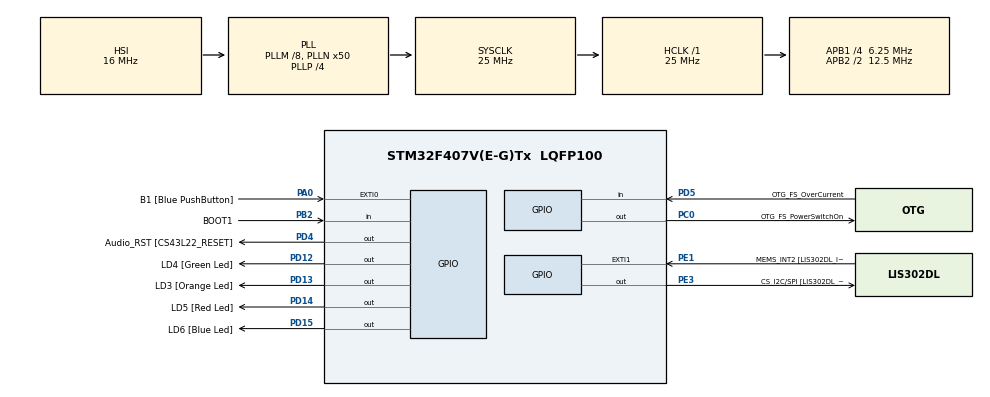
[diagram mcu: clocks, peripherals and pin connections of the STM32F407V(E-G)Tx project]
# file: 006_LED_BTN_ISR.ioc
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Mcu.Family=STM32F4
Mcu.Name=STM32F407V(E-G)Tx
Mcu.Package=LQFP100
NVIC.EXTI0_IRQn=true\:6\:0\:true\:false\:true\:true\:true\:true
NVIC.PriorityGroup=NVIC_PRIORITYGROUP_4
NVIC.TIM6_DAC_IRQn=true\:15\:0\:false\:false\:true\:false\:true\:true
NVIC.TimeBase=TIM6_DAC_IRQn
NVIC.TimeBaseIP=TIM6
PA0-WKUP.GPIO_Label=B1 [Blue PushButton]
PA0-WKUP.GPIO_ModeDefaultEXTI=GPIO_MODE_IT_FALLING
PA0-WKUP.Signal=GPXTI0
PA10.GPIO_Label=OTG_FS_ID
PA10.GPIO_Mode=GPIO_MODE_AF_PP
PA10.GPIO_PuPd=GPIO_NOPULL
PA10.GPIO_Speed=GPIO_SPEED_FREQ_LOW
PA10.Signal=USB_OTG_FS_ID
PA11.GPIO_Label=OTG_FS_DM
PA11.GPIO_Mode=GPIO_MODE_AF_PP
PA11.GPIO_PuPd=GPIO_NOPULL
PA11.GPIO_Speed=GPIO_SPEED_FREQ_LOW
PA11.Signal=USB_OTG_FS_DM
PA12.GPIO_Label=OTG_FS_DP
PA12.GPIO_Mode=GPIO_MODE_AF_PP
PA12.GPIO_PuPd=GPIO_NOPULL
PA12.GPIO_Speed=GPIO_SPEED_FREQ_LOW
PA12.Signal=USB_OTG_FS_DP
PA13.GPIO_Label=SWDIO
PA13.Signal=SYS_JTMS-SWDIO
PA14.GPIO_Label=SWCLK
PA14.Signal=SYS_JTCK-SWCLK
PA4.GPIO_Label=I2S3_WS [CS43L22_LRCK]
PA4.GPIO_Mode=GPIO_MODE_AF_PP
PA4.GPIO_PuPd=GPIO_NOPULL
PA4.GPIO_Speed=GPIO_SPEED_FREQ_LOW
PA4.Signal=I2S3_WS
PA5.GPIO_Label=SPI1_SCK [LIS302DL_SCL/SPC]
PA5.GPIO_Mode=GPIO_MODE_AF_PP
PA5.GPIO_PuPd=GPIO_NOPULL
PA5.GPIO_Speed=GPIO_SPEED_FREQ_LOW
PA5.Signal=SPI1_SCK
PA6.GPIO_Label=SPI1_MISO [LIS302DL_SDO]
PA6.GPIO_Mode=GPIO_MODE_AF_PP
PA6.GPIO_PuPd=GPIO_NOPULL
PA6.GPIO_Speed=GPIO_SPEED_FREQ_LOW
PA6.Signal=SPI1_MISO
PA7.GPIO_Label=SPI1_MOSI [LIS302DL_SDA/SDI/SDO]
PA7.GPIO_Mode=GPIO_MODE_AF_PP
PA7.GPIO_PuPd=GPIO_NOPULL
PA7.GPIO_Speed=GPIO_SPEED_FREQ_LOW
PA7.Signal=SPI1_MOSI
PA9.GPIO_Label=VBUS_FS
PA9.GPIO_Mode=GPIO_MODE_INPUT
PA9.GPIO_PuPd=GPIO_NOPULL
PA9.Signal=USB_OTG_FS_VBUS
PB10.GPIO_Label=CLK_IN [MP45DT02_CLK]
PB10.GPIO_Mode=GPIO_MODE_AF_PP
PB10.GPIO_PuPd=GPIO_NOPULL
PB10.GPIO_Speed=GPIO_SPEED_FREQ_LOW
PB10.Signal=I2S2_CK
PB2.GPIO_Label=BOOT1
PB2.GPIO_Mode=GPIO_MODE_INPUT
PB2.GPIO_PuPd=GPIO_NOPULL
PB2.Signal=GPIO_Input
PB3.GPIO_Label=SWO
PB3.Signal=SYS_JTDO-SWO
PB6.GPIO_Label=Audio_SCL [CS43L22_SCL]
PB6.GPIO_Mode=GPIO_MODE_AF_OD
PB6.GPIO_PuPd=GPIO_NOPULL
PB6.GPIO_Speed=GPIO_SPEED_FREQ_LOW
PB6.Signal=I2C1_SCL
PB9.GPIO_Label=Audio_SDA [CS43L22_SDA]
PB9.GPIO_Mode=GPIO_MODE_AF_OD
PB9.GPIO_PuPd=GPIO_NOPULL
PB9.GPIO_Speed=GPIO_SPEED_FREQ_LOW
PB9.Signal=I2C1_SDA
PC0.GPIO_Label=OTG_FS_PowerSwitchOn
PC0.GPIO_PuPd=GPIO_NOPULL
PC0.GPIO_Speed=GPIO_SPEED_FREQ_LOW
PC0.PinState=GPIO_PIN_SET
PC0.Signal=GPIO_Output
PC10.GPIO_Label=I2S3_SCK [CS43L22_SCLK]
PC10.GPIO_Mode=GPIO_MODE_AF_PP
PC10.GPIO_PuPd=GPIO_NOPULL
PC10.GPIO_Speed=GPIO_SPEED_FREQ_LOW
PC10.Signal=I2S3_CK
PC12.GPIO_Label=I2S3_SD [CS43L22_SDIN]
PC12.GPIO_Mode=GPIO_MODE_AF_PP
PC12.GPIO_PuPd=GPIO_NOPULL
PC12.GPIO_Speed=GPIO_SPEED_FREQ_LOW
PC12.Signal=I2S3_SD
PC14-OSC32_IN.GPIO_Label=PC14-OSC32_IN
PC14-OSC32_IN.Signal=RCC_OSC32_IN
PC15-OSC32_OUT.GPIO_Label=PC15-OSC32_OUT
PC15-OSC32_OUT.Signal=RCC_OSC32_OUT
PC3.GPIO_Label=PDM_OUT [MP45DT02_DOUT]
PC3.GPIO_Mode=GPIO_MODE_AF_PP
PC3.GPIO_PuPd=GPIO_NOPULL
PC3.GPIO_Speed=GPIO_SPEED_FREQ_LOW
PC3.Signal=I2S2_SD
PC7.GPIO_Label=I2S3_MCK [CS43L22_MCLK]
PC7.GPIO_Mode=GPIO_MODE_AF_PP
PC7.GPIO_PuPd=GPIO_NOPULL
PC7.GPIO_Speed=GPIO_SPEED_FREQ_LOW
PC7.Signal=I2S3_MCK
PD12.GPIO_Label=LD4 [Green Led]
PD12.GPIO_PuPd=GPIO_NOPULL
PD12.GPIO_Speed=GPIO_SPEED_FREQ_LOW
PD12.Signal=GPIO_Output
PD13.GPIO_Label=LD3 [Orange Led]
PD13.GPIO_PuPd=GPIO_NOPULL
PD13.GPIO_Speed=GPIO_SPEED_FREQ_LOW
PD13.Signal=GPIO_Output
PD14.GPIO_Label=LD5 [Red Led]
PD14.GPIO_PuPd=GPIO_NOPULL
PD14.GPIO_Speed=GPIO_SPEED_FREQ_LOW
PD14.Signal=GPIO_Output
PD15.GPIO_Label=LD6 [Blue Led]
PD15.GPIO_PuPd=GPIO_NOPULL
PD15.GPIO_Speed=GPIO_SPEED_FREQ_LOW
PD15.Signal=GPIO_Output
PD4.GPIO_Label=Audio_RST [CS43L22_RESET]
PD4.GPIO_PuPd=GPIO_NOPULL
PD4.GPIO_Speed=GPIO_SPEED_FREQ_LOW
PD4.Signal=GPIO_Output
PD5.GPIO_Label=OTG_FS_OverCurrent
PD5.GPIO_Mode=GPIO_MODE_INPUT
PD5.GPIO_PuPd=GPIO_NOPULL
PD5.Signal=GPIO_Input
PE1.GPIO_Label=MEMS_INT2 [LIS302DL_INT2]
PE1.GPIO_ModeDefaultEXTI=GPIO_MODE_EVT_RISING
PE1.GPIO_PuPd=GPIO_NOPULL
PE1.Signal=GPXTI1
PE3.GPIO_Label=CS_I2C/SPI [LIS302DL_CS_I2C/SPI]
PE3.GPIO_PuPd=GPIO_NOPULL
PE3.GPIO_Speed=GPIO_SPEED_FREQ_LOW
PE3.Signal=GPIO_Output
PH0-OSC_IN.GPIO_Label=PH0-OSC_IN
PH0-OSC_IN.Signal=RCC_OSC_IN
PH1-OSC_OUT.GPIO_Label=PH1-OSC_OUT
PH1-OSC_OUT.Signal=RCC_OSC_OUT
ProjectManager.HeapSize=0x200
ProjectManager.StackSize=0x400
ProjectManager.TargetToolchain=STM32CubeIDE
RCC.48MHZClocksFreq_Value=14285714.285714285
RCC.AHBFreq_Value=25000000
RCC.APB1CLKDivider=RCC_HCLK_DIV4
RCC.APB1Freq_Value=6250000
RCC.APB1TimFreq_Value=12500000
RCC.APB2CLKDivider=RCC_HCLK_DIV2
RCC.APB2Freq_Value=12500000
RCC.APB2TimFreq_Value=25000000
RCC.CortexFreq_Value=25000000
RCC.HCLKFreq_Value=25000000
RCC.HSE_VALUE=8000000
RCC.HSI_VALUE=16000000
RCC.LSE_VALUE=32768
RCC.PLLM=8
RCC.PLLN=50
RCC.PLLP=RCC_PLLP_DIV4
RCC.PLLQ=7
RCC.SYSCLKFreq_VALUE=25000000
RCC.SYSCLKSource=RCC_SYSCLKSOURCE_PLLCLK
RCC.VCOOutputFreq_Value=100000000
VP_SYS_VS_tim6.Mode=TIM6
board=STM32F407G-DISC1

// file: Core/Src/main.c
/* USER CODE BEGIN Header */
/**
  ******************************************************************************
  * @file           : main.c
  * @brief          : Main program body
  ******************************************************************************
  * @attention
  *
  * Copyright (c) 2026 STMicroelectronics.
  * All rights reserved.
  *
  * This software is licensed under terms that can be found in the LICENSE file
  * in the root directory of this software component.
  * If no LICENSE file comes with this software, it is provided AS-IS.
  *
  ******************************************************************************
  */
/* USER CODE END Header */
#include "main.h"

/* USER CODE BEGIN Includes */
#include "FreeRTOS.h"
#include "task.h"
#include <stdio.h>
/* USER CODE END Includes */

/* USER CODE BEGIN PV */
#define DWT_CTRL   (*(volatile uint32_t*)0xE0001000)
TaskHandle_t task1_handle,task2_handle,task3_handle,task4_handle,next_task_handle,task5_handle;

/* USER CODE END PV */

void SystemClock_Config(void);
static void MX_GPIO_Init(void);
/* USER CODE BEGIN PFP */
static void led_green_handler(void* parameters);
static void led_red_handler(void* parameters);
static void led_orange_handler(void* parameters);
static void onSuspend_handler(void *parameters);
/* USER CODE END PFP */

int main(void)
{

  /* USER CODE BEGIN 1 */

	BaseType_t status;

  /* USER CODE END 1 */

  /* MCU Configuration--------------------------------------------------------*/

  /* Reset of all peripherals, Initializes the Flash interface and the Systick. */
  HAL_Init();

  /* Configure the system clock */
  SystemClock_Config();

  /* Initialize all configured peripherals */
  MX_GPIO_Init();
  /* USER CODE BEGIN 2 */

  //enable the cycle counting
  DWT_CTRL |=(1<<0);

  // to start the recording we call the below functions:
  SEGGER_SYSVIEW_Conf();
  SEGGER_SYSVIEW_Start(); // --> which actually starts the recording

    status = xTaskCreate(led_green_handler,"LED_GREEN_TASK", 200, NULL, 3, &task1_handle);
    configASSERT(status == pdPASS);
    next_task_handle=task1_handle;
    status = xTaskCreate(led_red_handler,"LED_RED_TASK", 200, NULL, 2, &task2_handle);
    configASSERT(status == pdPASS);
    status = xTaskCreate(led_orange_handler,"LED_ORANGE_TASK", 200, NULL, 1, &task3_handle);
    configASSERT(status == pdPASS);
    status = xTaskCreate(onSuspend_handler,"suspension_task", 200, NULL, 4, &task5_handle);
    configASSERT(status == pdPASS);

  //start the scheduler
   vTaskStartScheduler(); // sxheduler return only in the case it has failed to launch , internally uses xtaskcreate()

  //if the control comes here the scheduler has failed to start
  //may be returned due to insufficient memory in the heap to start the scheduler

  /* USER CODE END 2 */

  /* Infinite loop */
  while (1)
  {

  }
}

void SystemClock_Config(void)
{
  RCC_OscInitTypeDef RCC_OscInitStruct = {0};
  RCC_ClkInitTypeDef RCC_ClkInitStruct = {0};

  /** Configure the main internal regulator output voltage
  */
  __HAL_RCC_PWR_CLK_ENABLE();
  __HAL_PWR_VOLTAGESCALING_CONFIG(PWR_REGULATOR_VOLTAGE_SCALE1);

  /** Initializes the RCC Oscillators according to the specified parameters
  * in the RCC_OscInitTypeDef structure.
  */
  RCC_OscInitStruct.OscillatorType = RCC_OSCILLATORTYPE_HSI;
  RCC_OscInitStruct.HSIState = RCC_HSI_ON;
  RCC_OscInitStruct.HSICalibrationValue = RCC_HSICALIBRATION_DEFAULT;
  RCC_OscInitStruct.PLL.PLLState = RCC_PLL_ON;
  RCC_OscInitStruct.PLL.PLLSource = RCC_PLLSOURCE_HSI;
  RCC_OscInitStruct.PLL.PLLM = 8;
  RCC_OscInitStruct.PLL.PLLN = 50;
  RCC_OscInitStruct.PLL.PLLP = RCC_PLLP_DIV4;
  RCC_OscInitStruct.PLL.PLLQ = 7;
  if (HAL_RCC_OscConfig(&RCC_OscInitStruct) != HAL_OK)
  {
    Error_Handler();
  }

  /** Initializes the CPU, AHB and APB buses clocks
  */
  RCC_ClkInitStruct.ClockType = RCC_CLOCKTYPE_HCLK|RCC_CLOCKTYPE_SYSCLK
                              |RCC_CLOCKTYPE_PCLK1|RCC_CLOCKTYPE_PCLK2;
  RCC_ClkInitStruct.SYSCLKSource = RCC_SYSCLKSOURCE_PLLCLK;
  RCC_ClkInitStruct.AHBCLKDivider = RCC_SYSCLK_DIV1;
  RCC_ClkInitStruct.APB1CLKDivider = RCC_HCLK_DIV4;
  RCC_ClkInitStruct.APB2CLKDivider = RCC_HCLK_DIV2;

  if (HAL_RCC_ClockConfig(&RCC_ClkInitStruct, FLASH_LATENCY_0) != HAL_OK)
  {
    Error_Handler();
  }
}

static void MX_GPIO_Init(void)
{
  GPIO_InitTypeDef GPIO_InitStruct = {0};

  /* GPIO Ports Clock Enable */
  __HAL_RCC_GPIOE_CLK_ENABLE();
  __HAL_RCC_GPIOC_CLK_ENABLE();
  __HAL_RCC_GPIOH_CLK_ENABLE();
  __HAL_RCC_GPIOA_CLK_ENABLE();
  __HAL_RCC_GPIOB_CLK_ENABLE();
  __HAL_RCC_GPIOD_CLK_ENABLE();

  /*Configure GPIO pin Output Level */
  HAL_GPIO_WritePin(CS_I2C_SPI_GPIO_Port, CS_I2C_SPI_Pin, GPIO_PIN_RESET);

  /*Configure GPIO pin Output Level */
  HAL_GPIO_WritePin(OTG_FS_PowerSwitchOn_GPIO_Port, OTG_FS_PowerSwitchOn_Pin, GPIO_PIN_SET);

  /*Configure GPIO pin Output Level */
  HAL_GPIO_WritePin(GPIOD, LD4_Pin|LD3_Pin|LD5_Pin|LD6_Pin
                          |Audio_RST_Pin, GPIO_PIN_RESET);

  /*Configure GPIO pin : CS_I2C_SPI_Pin */
  GPIO_InitStruct.Pin = CS_I2C_SPI_Pin;
  GPIO_InitStruct.Mode = GPIO_MODE_OUTPUT_PP;
  GPIO_InitStruct.Pull = GPIO_NOPULL;
  GPIO_InitStruct.Speed = GPIO_SPEED_FREQ_LOW;
  HAL_GPIO_Init(CS_I2C_SPI_GPIO_Port, &GPIO_InitStruct);

  /*Configure GPIO pin : OTG_FS_PowerSwitchOn_Pin */
  GPIO_InitStruct.Pin = OTG_FS_PowerSwitchOn_Pin;
  GPIO_InitStruct.Mode = GPIO_MODE_OUTPUT_PP;
  GPIO_InitStruct.Pull = GPIO_NOPULL;
  GPIO_InitStruct.Speed = GPIO_SPEED_FREQ_LOW;
  HAL_GPIO_Init(OTG_FS_PowerSwitchOn_GPIO_Port, &GPIO_InitStruct);

  /*Configure GPIO pin : PDM_OUT_Pin */
  GPIO_InitStruct.Pin = PDM_OUT_Pin;
  GPIO_InitStruct.Mode = GPIO_MODE_AF_PP;
  GPIO_InitStruct.Pull = GPIO_NOPULL;
  GPIO_InitStruct.Speed = GPIO_SPEED_FREQ_LOW;
  GPIO_InitStruct.Alternate = GPIO_AF5_SPI2;
  HAL_GPIO_Init(PDM_OUT_GPIO_Port, &GPIO_InitStruct);

  /*Configure GPIO pin : B1_Pin */
  GPIO_InitStruct.Pin = B1_Pin;
  GPIO_InitStruct.Mode = GPIO_MODE_IT_FALLING;
  GPIO_InitStruct.Pull = GPIO_NOPULL;
  HAL_GPIO_Init(B1_GPIO_Port, &GPIO_InitStruct);

  /*Configure GPIO pin : I2S3_WS_Pin */
  GPIO_InitStruct.Pin = I2S3_WS_Pin;
  GPIO_InitStruct.Mode = GPIO_MODE_AF_PP;
  GPIO_InitStruct.Pull = GPIO_NOPULL;
  GPIO_InitStruct.Speed = GPIO_SPEED_FREQ_LOW;
  GPIO_InitStruct.Alternate = GPIO_AF6_SPI3;
  HAL_GPIO_Init(I2S3_WS_GPIO_Port, &GPIO_InitStruct);

  /*Configure GPIO pins : SPI1_SCK_Pin SPI1_MISO_Pin SPI1_MOSI_Pin */
  GPIO_InitStruct.Pin = SPI1_SCK_Pin|SPI1_MISO_Pin|SPI1_MOSI_Pin;
  GPIO_InitStruct.Mode = GPIO_MODE_AF_PP;
  GPIO_InitStruct.Pull = GPIO_NOPULL;
  GPIO_InitStruct.Speed = GPIO_SPEED_FREQ_LOW;
  GPIO_InitStruct.Alternate = GPIO_AF5_SPI1;
  HAL_GPIO_Init(GPIOA, &GPIO_InitStruct);

  /*Configure GPIO pin : BOOT1_Pin */
  GPIO_InitStruct.Pin = BOOT1_Pin;
  GPIO_InitStruct.Mode = GPIO_MODE_INPUT;
  GPIO_InitStruct.Pull = GPIO_NOPULL;
  HAL_GPIO_Init(BOOT1_GPIO_Port, &GPIO_InitStruct);

  /*Configure GPIO pin : CLK_IN_Pin */
  GPIO_InitStruct.Pin = CLK_IN_Pin;
  GPIO_InitStruct.Mode = GPIO_MODE_AF_PP;
  GPIO_InitStruct.Pull = GPIO_NOPULL;
  GPIO_InitStruct.Speed = GPIO_SPEED_FREQ_LOW;
  GPIO_InitStruct.Alternate = GPIO_AF5_SPI2;
  HAL_GPIO_Init(CLK_IN_GPIO_Port, &GPIO_InitStruct);

  /*Configure GPIO pins : LD4_Pin LD3_Pin LD5_Pin LD6_Pin
                           Audio_RST_Pin */
  GPIO_InitStruct.Pin = LD4_Pin|LD3_Pin|LD5_Pin|LD6_Pin
                          |Audio_RST_Pin;
  GPIO_InitStruct.Mode = GPIO_MODE_OUTPUT_PP;
  GPIO_InitStruct.Pull = GPIO_NOPULL;
  GPIO_InitStruct.Speed = GPIO_SPEED_FREQ_LOW;
  HAL_GPIO_Init(GPIOD, &GPIO_InitStruct);

  /*Configure GPIO pins : I2S3_MCK_Pin I2S3_SCK_Pin I2S3_SD_Pin */
  GPIO_InitStruct.Pin = I2S3_MCK_Pin|I2S3_SCK_Pin|I2S3_SD_Pin;
  GPIO_InitStruct.Mode = GPIO_MODE_AF_PP;
  GPIO_InitStruct.Pull = GPIO_NOPULL;
  GPIO_InitStruct.Speed = GPIO_SPEED_FREQ_LOW;
  GPIO_InitStruct.Alternate = GPIO_AF6_SPI3;
  HAL_GPIO_Init(GPIOC, &GPIO_InitStruct);

  /*Configure GPIO pin : VBUS_FS_Pin */
  GPIO_InitStruct.Pin = VBUS_FS_Pin;
  GPIO_InitStruct.Mode = GPIO_MODE_INPUT;
  GPIO_InitStruct.Pull = GPIO_NOPULL;
  HAL_GPIO_Init(VBUS_FS_GPIO_Port, &GPIO_InitStruct);

  /*Configure GPIO pins : OTG_FS_ID_Pin OTG_FS_DM_Pin OTG_FS_DP_Pin */
  GPIO_InitStruct.Pin = OTG_FS_ID_Pin|OTG_FS_DM_Pin|OTG_FS_DP_Pin;
  GPIO_InitStruct.Mode = GPIO_MODE_AF_PP;
  GPIO_InitStruct.Pull = GPIO_NOPULL;
  GPIO_InitStruct.Speed = GPIO_SPEED_FREQ_LOW;
  GPIO_InitStruct.Alternate = GPIO_AF10_OTG_FS;
  HAL_GPIO_Init(GPIOA, &GPIO_InitStruct);

  /*Configure GPIO pin : OTG_FS_OverCurrent_Pin */
  GPIO_InitStruct.Pin = OTG_FS_OverCurrent_Pin;
  GPIO_InitStruct.Mode = GPIO_MODE_INPUT;
  GPIO_InitStruct.Pull = GPIO_NOPULL;
  HAL_GPIO_Init(OTG_FS_OverCurrent_GPIO_Port, &GPIO_InitStruct);

  /*Configure GPIO pins : Audio_SCL_Pin Audio_SDA_Pin */
  GPIO_InitStruct.Pin = Audio_SCL_Pin|Audio_SDA_Pin;
  GPIO_InitStruct.Mode = GPIO_MODE_AF_OD;
  GPIO_InitStruct.Pull = GPIO_NOPULL;
  GPIO_InitStruct.Speed = GPIO_SPEED_FREQ_LOW;
  GPIO_InitStruct.Alternate = GPIO_AF4_I2C1;
  HAL_GPIO_Init(GPIOB, &GPIO_InitStruct);

  /*Configure GPIO pin : MEMS_INT2_Pin */
  GPIO_InitStruct.Pin = MEMS_INT2_Pin;
  GPIO_InitStruct.Mode = GPIO_MODE_EVT_RISING;
  GPIO_InitStruct.Pull = GPIO_NOPULL;
  HAL_GPIO_Init(MEMS_INT2_GPIO_Port, &GPIO_InitStruct);

  /* EXTI interrupt init*/
  HAL_NVIC_SetPriority(EXTI0_IRQn, 6, 0);
  HAL_NVIC_EnableIRQ(EXTI0_IRQn);

}

/* USER CODE BEGIN 4 */

void button_interrupt_handler(){
	xTaskNotifyFromISR(next_task_handle,0,eNoAction,NULL);
}
static void led_green_handler(void* parameters)
{
	BaseType_t status;
	while(1)
	{
		HAL_GPIO_TogglePin(GPIOD,LED_GREEN_PIN);
		//after this we have to wait for 1000ms
		status = xTaskNotifyWait(0,0,NULL,pdMS_TO_TICKS(1000)); //here the task goes to sleep for 1000 ms
		if (status == pdTRUE) {
			//vTaskSuspendAll(); // this suspend is needed because before the task updates the next handle if its preempted by button task .. on 2nd press again the task to be suspended will be 1st task.
			// the above code causes the scheduler to be suspended
			portENTER_CRITICAL(); // because the next_task_handle variable is used between thread mode and interrupt mode , so we cant use the vSuspendALL , our goal is to also disable the interrupts with priority lesser than button interrupts

			next_task_handle = task2_handle;
			//xTaskResumeAll();
			HAL_GPIO_WritePin(GPIOD, LED_GREEN_PIN, GPIO_PIN_SET);
			portEXIT_CRITICAL();
			vTaskSuspend(NULL); // since self delete its NULL
			// indicates all LED

		}
	}
}

static void led_red_handler(void* parameters)
{
	BaseType_t status;
	while(1)
	{

		HAL_GPIO_TogglePin(GPIOD, LED_RED_PIN);
		status = xTaskNotifyWait(0, 0, NULL, pdMS_TO_TICKS(800)); // here the task goes to sleep for 800 ms
		if (status == pdTRUE) {
			//vTaskSuspendAll(); // this suspend is needed because before the task updates the next handle if its preempted by button task .. on 2nd press again the task to be suspended will be 1st task.
			// the above code causes the scheduler to be suspended
			portENTER_CRITICAL(); // because the next_task_handle variable is used between thread mode and interrupt mode , so we cant use the vSuspendALL , our goal is to also disable the interrupts with priority lesser than button interrupts

			next_task_handle = task3_handle;
			//xTaskResumeAll();
			HAL_GPIO_WritePin(GPIOD, LED_RED_PIN, GPIO_PIN_SET);
			portEXIT_CRITICAL();
			vTaskSuspend(NULL); // since self delete its NULL
			// indicates all LED

		}
	}
}

static void led_orange_handler(void* parameters)
{
	BaseType_t status;
	while(1)
	{

		HAL_GPIO_TogglePin(GPIOD, LED_ORANGE_PIN);
		status = xTaskNotifyWait(0, 0, NULL, pdMS_TO_TICKS(400));  //here the task goes to sleep for 400 ms
		if (status == pdTRUE) {
			//vTaskSuspendAll(); // this suspend is needed because before the task updates the next handle if its preempted by button task .. on 2nd press again the task to be suspended will be 1st task.
			// the above code causes the scheduler to be suspended
			portENTER_CRITICAL(); // because the next_task_handle variable is used between thread mode and interrupt mode , so we cant use the vSuspendALL , our goal is to also disable the interrupts with priority lesser than button interrupts

			next_task_handle = task5_handle;
			//xTaskResumeAll();
			HAL_GPIO_WritePin(GPIOD, LED_ORANGE_PIN, GPIO_PIN_SET);
			portEXIT_CRITICAL();
			vTaskSuspend(NULL); // since self delete its NULL
			// indicates all LED

		}
	}
}

static void onSuspend_handler(void *parameters)
{
	BaseType_t status;
	while(1)
	{
		status = xTaskNotifyWait(0, 0, NULL, pdMS_TO_TICKS(10));
		if (status == pdTRUE) {
			vTaskResume(task1_handle);
			vTaskResume(task2_handle);
			vTaskResume(task3_handle);
			next_task_handle = task1_handle;
		}
	}

}
/* USER CODE END 4 */

void HAL_TIM_PeriodElapsedCallback(TIM_HandleTypeDef *htim)
{
  if (htim->Instance == TIM6)
  {
    HAL_IncTick();
  }
}

void Error_Handler(void)
{
  __disable_irq();
  while (1)
  {
  }
}
